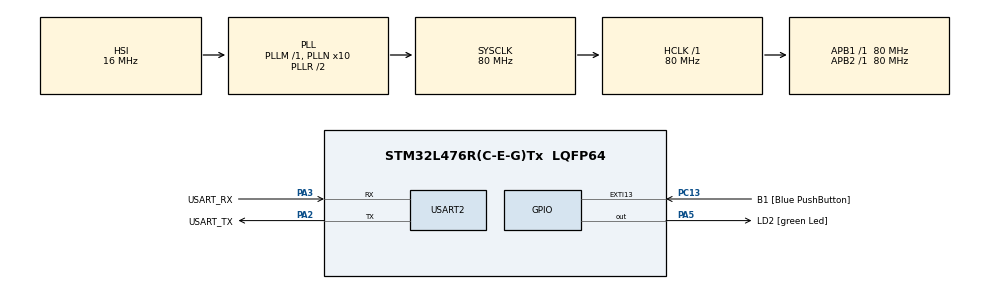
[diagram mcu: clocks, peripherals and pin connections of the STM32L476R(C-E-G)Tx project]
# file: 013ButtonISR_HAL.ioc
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Mcu.Family=STM32L4
Mcu.Name=STM32L476R(C-E-G)Tx
Mcu.Package=LQFP64
NVIC.EXTI15_10_IRQn=true\:0\:0\:false\:false\:true\:true\:true\:true
NVIC.PriorityGroup=NVIC_PRIORITYGROUP_4
NVIC.USART2_IRQn=true\:0\:0\:false\:false\:true\:true\:true\:true
PA13\ (JTMS-SWDIO).GPIO_Label=TMS
PA13\ (JTMS-SWDIO).Mode=Serial_Wire
PA13\ (JTMS-SWDIO).Signal=SYS_JTMS-SWDIO
PA14\ (JTCK-SWCLK).GPIO_Label=TCK
PA14\ (JTCK-SWCLK).Mode=Serial_Wire
PA14\ (JTCK-SWCLK).Signal=SYS_JTCK-SWCLK
PA2.GPIO_Label=USART_TX
PA2.GPIO_Mode=GPIO_MODE_AF_PP
PA2.GPIO_PuPd=GPIO_NOPULL
PA2.GPIO_Speed=GPIO_SPEED_FREQ_VERY_HIGH
PA2.Mode=Asynchronous
PA2.Signal=USART2_TX
PA3.GPIO_Label=USART_RX
PA3.GPIO_Mode=GPIO_MODE_AF_PP
PA3.GPIO_PuPd=GPIO_NOPULL
PA3.GPIO_Speed=GPIO_SPEED_FREQ_VERY_HIGH
PA3.Mode=Asynchronous
PA3.Signal=USART2_RX
PA5.GPIO_Label=LD2 [green Led]
PA5.GPIO_ModeDefaultOutputPP=GPIO_MODE_OUTPUT_PP
PA5.GPIO_PuPd=GPIO_NOPULL
PA5.GPIO_Speed=GPIO_SPEED_FREQ_LOW
PA5.Signal=GPIO_Output
PB3\ (JTDO-TRACESWO).GPIO_Label=SWO
PB3\ (JTDO-TRACESWO).Signal=SYS_JTDO-SWO
PC13.GPIO_Label=B1 [Blue PushButton]
PC13.GPIO_ModeDefaultEXTI=GPIO_MODE_IT_FALLING
PC13.GPIO_PuPd=GPIO_NOPULL
PC13.Signal=GPXTI13
PC14-OSC32_IN\ (PC14).Mode=LSE-External-Oscillator
PC14-OSC32_IN\ (PC14).Signal=RCC_OSC32_IN
PC15-OSC32_OUT\ (PC15).Mode=LSE-External-Oscillator
PC15-OSC32_OUT\ (PC15).Signal=RCC_OSC32_OUT
PH0-OSC_IN\ (PH0).Signal=RCC_OSC_IN
PH1-OSC_OUT\ (PH1).Signal=RCC_OSC_OUT
ProjectManager.HeapSize=0x200
ProjectManager.StackSize=0x400
ProjectManager.TargetToolchain=STM32CubeIDE
RCC.ADCFreq_Value=64000000
RCC.AHBFreq_Value=80000000
RCC.APB1Freq_Value=80000000
RCC.APB1TimFreq_Value=80000000
RCC.APB2Freq_Value=80000000
RCC.APB2TimFreq_Value=80000000
RCC.CortexFreq_Value=80000000
RCC.HCLKFreq_Value=80000000
RCC.HSE_VALUE=8000000
RCC.HSI_VALUE=16000000
RCC.MSI_VALUE=4000000
RCC.PLLN=10
RCC.PLLSourceVirtual=RCC_PLLSOURCE_HSI
RCC.PREFETCH_ENABLE=1
RCC.SYSCLKFreq_VALUE=80000000
RCC.SYSCLKSource=RCC_SYSCLKSOURCE_PLLCLK
RCC.USBFreq_Value=64000000
RCC.VCOOutputFreq_Value=160000000
USART2.VirtualMode-Asynchronous=VM_ASYNC
board=NUCLEO-L476RG

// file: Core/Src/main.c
/* USER CODE BEGIN Header */
/**
 ******************************************************************************
 * @file           : main.c
 * @brief          : Main program body
 ******************************************************************************
 * @attention
 *
 * Copyright (c) 2026 STMicroelectronics.
 * All rights reserved.
 *
 * This software is licensed under terms that can be found in the LICENSE file
 * in the root directory of this software component.
 * If no LICENSE file comes with this software, it is provided AS-IS.
 *
 ******************************************************************************
 */
/* USER CODE END Header */
#include "main.h"

UART_HandleTypeDef huart2;

/* USER CODE BEGIN PV */

uint8_t volatile g_button_pressed = 0;
uint32_t g_button_press_count = 0;

uint8_t rx_data;

/* USER CODE END PV */

void SystemClock_Config(void);
static void MX_GPIO_Init(void);
static void MX_USART2_UART_Init(void);

/* USER CODE BEGIN 0 */

#include <stdio.h>

int __io_putchar(int ch) {
	HAL_UART_Transmit(&huart2, (uint8_t*) &ch, 1, 0xFFFF);
	return ch;
}

/* USER CODE END 0 */

int main(void) {

	/* MCU Configuration--------------------------------------------------------*/

	/* Reset of all peripherals, Initializes the Flash interface and the Systick. */
	HAL_Init();

	/* Configure the system clock */
	SystemClock_Config();

	/* Initialize all configured peripherals */
	MX_GPIO_Init();
	MX_USART2_UART_Init();
	/* USER CODE BEGIN 2 */

	HAL_UART_Receive_IT(&huart2, &rx_data, 1);

	/* USER CODE END 2 */

	/* Infinite loop */
	while (1) {
		if (g_button_pressed) {
			HAL_GPIO_WritePin(GPIOA, GPIO_PIN_5, GPIO_PIN_SET); // Led on

			// Optional for HAL: EXTI turn off for example
			HAL_NVIC_DisableIRQ(EXTI15_10_IRQn);

			g_button_pressed = 0;
			g_button_press_count++;

			printf("Button is pressed : %lu\r\n", g_button_press_count);

			HAL_Delay(20);

			HAL_NVIC_EnableIRQ(EXTI15_10_IRQn);

			HAL_GPIO_WritePin(GPIOA, GPIO_PIN_5, GPIO_PIN_RESET); // LED off
		}
	}
}

void SystemClock_Config(void) {
	RCC_OscInitTypeDef RCC_OscInitStruct = { 0 };
	RCC_ClkInitTypeDef RCC_ClkInitStruct = { 0 };

	/** Configure the main internal regulator output voltage
	 */
	if (HAL_PWREx_ControlVoltageScaling(PWR_REGULATOR_VOLTAGE_SCALE1)
			!= HAL_OK) {
		Error_Handler();
	}

	/** Initializes the RCC Oscillators according to the specified parameters
	 * in the RCC_OscInitTypeDef structure.
	 */
	RCC_OscInitStruct.OscillatorType = RCC_OSCILLATORTYPE_HSI;
	RCC_OscInitStruct.HSIState = RCC_HSI_ON;
	RCC_OscInitStruct.HSICalibrationValue = RCC_HSICALIBRATION_DEFAULT;
	RCC_OscInitStruct.PLL.PLLState = RCC_PLL_ON;
	RCC_OscInitStruct.PLL.PLLSource = RCC_PLLSOURCE_HSI;
	RCC_OscInitStruct.PLL.PLLM = 1;
	RCC_OscInitStruct.PLL.PLLN = 10;
	RCC_OscInitStruct.PLL.PLLP = RCC_PLLP_DIV7;
	RCC_OscInitStruct.PLL.PLLQ = RCC_PLLQ_DIV2;
	RCC_OscInitStruct.PLL.PLLR = RCC_PLLR_DIV2;
	if (HAL_RCC_OscConfig(&RCC_OscInitStruct) != HAL_OK) {
		Error_Handler();
	}

	/** Initializes the CPU, AHB and APB buses clocks
	 */
	RCC_ClkInitStruct.ClockType = RCC_CLOCKTYPE_HCLK | RCC_CLOCKTYPE_SYSCLK
			| RCC_CLOCKTYPE_PCLK1 | RCC_CLOCKTYPE_PCLK2;
	RCC_ClkInitStruct.SYSCLKSource = RCC_SYSCLKSOURCE_PLLCLK;
	RCC_ClkInitStruct.AHBCLKDivider = RCC_SYSCLK_DIV1;
	RCC_ClkInitStruct.APB1CLKDivider = RCC_HCLK_DIV1;
	RCC_ClkInitStruct.APB2CLKDivider = RCC_HCLK_DIV1;

	if (HAL_RCC_ClockConfig(&RCC_ClkInitStruct, FLASH_LATENCY_4) != HAL_OK) {
		Error_Handler();
	}
}

static void MX_USART2_UART_Init(void) {

	huart2.Instance = USART2;
	huart2.Init.BaudRate = 115200;
	huart2.Init.WordLength = UART_WORDLENGTH_8B;
	huart2.Init.StopBits = UART_STOPBITS_1;
	huart2.Init.Parity = UART_PARITY_NONE;
	huart2.Init.Mode = UART_MODE_TX_RX;
	huart2.Init.HwFlowCtl = UART_HWCONTROL_NONE;
	huart2.Init.OverSampling = UART_OVERSAMPLING_16;
	huart2.Init.OneBitSampling = UART_ONE_BIT_SAMPLE_DISABLE;
	huart2.AdvancedInit.AdvFeatureInit = UART_ADVFEATURE_NO_INIT;
	if (HAL_UART_Init(&huart2) != HAL_OK) {
		Error_Handler();
	}

}

static void MX_GPIO_Init(void) {
	GPIO_InitTypeDef GPIO_InitStruct = { 0 };

	/* GPIO Ports Clock Enable */
	__HAL_RCC_GPIOC_CLK_ENABLE();
	__HAL_RCC_GPIOH_CLK_ENABLE();
	__HAL_RCC_GPIOA_CLK_ENABLE();
	__HAL_RCC_GPIOB_CLK_ENABLE();

	/*Configure GPIO pin Output Level */
	HAL_GPIO_WritePin(LD2_GPIO_Port, LD2_Pin, GPIO_PIN_RESET);

	/*Configure GPIO pin : B1_Pin */
	GPIO_InitStruct.Pin = B1_Pin;
	GPIO_InitStruct.Mode = GPIO_MODE_IT_FALLING;
	GPIO_InitStruct.Pull = GPIO_NOPULL;
	HAL_GPIO_Init(B1_GPIO_Port, &GPIO_InitStruct);

	/*Configure GPIO pin : LD2_Pin */
	GPIO_InitStruct.Pin = LD2_Pin;
	GPIO_InitStruct.Mode = GPIO_MODE_OUTPUT_PP;
	GPIO_InitStruct.Pull = GPIO_NOPULL;
	GPIO_InitStruct.Speed = GPIO_SPEED_FREQ_LOW;
	HAL_GPIO_Init(LD2_GPIO_Port, &GPIO_InitStruct);

	/* EXTI interrupt init*/
	HAL_NVIC_SetPriority(EXTI15_10_IRQn, 0, 0);
	HAL_NVIC_EnableIRQ(EXTI15_10_IRQn);

}

/* USER CODE BEGIN 4 */

void HAL_GPIO_EXTI_Callback(uint16_t GPIO_Pin) {
	if (GPIO_Pin == GPIO_PIN_13) {
		g_button_pressed = 1;
	}
}

void HAL_UART_RxCpltCallback(UART_HandleTypeDef *huart) {
	if (huart->Instance == USART2) {
		// Echo
		HAL_UART_Transmit(&huart2, &rx_data, 1, 10);
		if (rx_data == '\r') {
			uint8_t nl = '\n';
			HAL_UART_Transmit(&huart2, &nl, 1, 10);
		}

		if (rx_data == 'h' || rx_data == 'H')
			HAL_GPIO_WritePin(GPIOA, GPIO_PIN_5, GPIO_PIN_SET);
		if (rx_data == 'l' || rx_data == 'L')
			HAL_GPIO_WritePin(GPIOA, GPIO_PIN_5, GPIO_PIN_RESET);

		HAL_UART_Receive_IT(&huart2, &rx_data, 1);
	}
}

/* USER CODE END 4 */

void Error_Handler(void) {
	__disable_irq();
	while (1) {
	}
}
